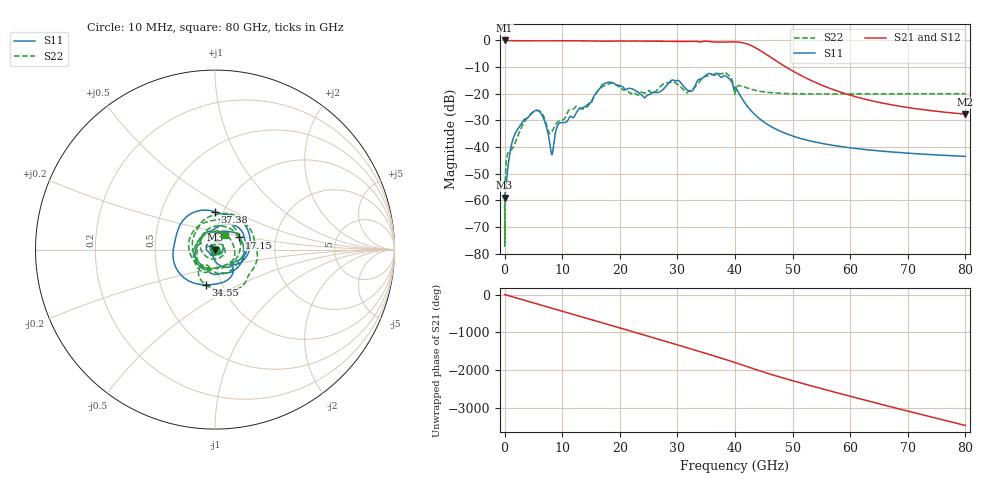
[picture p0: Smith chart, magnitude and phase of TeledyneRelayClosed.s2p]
# Hz S DB R 50
!Touchstone multiport model file <C:\work\PySI\TestSignalIntegrity\OysterSimulation\ResampledSimbeor\TeledyneRelayClosed.s2p>
!Created on 22 Aug 18, at 17:55:42.
!Created with Simbeor THz 2018.01(64bit) of Simberian Inc. built on Jul 20 2018
!Output from MultiportParameters of Simbeor.
!Multiport parameters: DataOrigin=Simulation DataOriginName="Project(1).TeledyneRelayClosed_resampled.LNS"
!RESAMPLED_RCM: Max_RMS_Error=0.0156116; FrqLow=0; FrqHigh=4e+10; MaxTimeResolution=1.25e-11; PassivityState=1; ReciprocityState=1; DataSource="àD«n"
!RATIONAL COMPACTOR: Precision: Normal; Extract Delay: ON; Extrapolate to DC: ON; Extrapolate to Infinity: OFF; Enforce Passivity: ON; Enforce Reciprocity: ON; Band Limit Factor: 1; Auto-Adjust Config: OFF
!Uncomment the following lines with keywords in square brakets to support IBIS forum specification 2.0.
![Version] 2.0 !This line should be the first in file, preceeding the line starting with #.
![Number of Ports] 2
![Number of Frequencies] 8001
![Two-Port Data Order] 21_12
![Reference] 50 50
!!!!Multiport descriptor profile: InputCount=2 TotalPortCount=2
!DescriptorOutline={DescriptorType=SMatrix InputSpace=Terminal NormalizationType=CommonZo NormalizationCommonZo=50 Ohm OutputFormat=DBMagnitudeAngle}
!InputProfile={Name="IO1" IsTLineInput=False InputNumber=1 PortCount=1 FirstPortNumber=1 InputSpace=Terminal BlockType=SBlock NormalizationType=CommonZo Zo=50}
!InputProfile={Name="IO2" IsTLineInput=False InputNumber=2 PortCount=1 FirstPortNumber=2 InputSpace=Terminal BlockType=SBlock NormalizationType=CommonZo Zo=50}
!!!Global port number to input_name/local_port_number correspondence:
!Port 1 -> "IO1"/local_port_1 (terminal)
!Port 2 -> "IO2"/local_port_1 (terminal)
!!!!End of descriptor profile.
!Frequency Hz 20.0*log(|S[1,1]|) arg(S[1,1]) 20.0*log(|S[2,1]|) arg(S[2,1]) 20.0*log(|S[1,2]|) arg(S[1,2]) 20.0*log(|S[2,2]|) arg(S[2,2])
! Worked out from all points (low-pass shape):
!   8000 points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, 10 MHz to 80 GHz, reference 50 ohm
!   highest |S21| = -0.01 dB at 10 MHz (marker M1); lowest = -27.7 dB at 80 GHz (marker M2)
!   |S21| within 3 dB of the highest: start of sweep to 43.78 GHz
!   lowest |S11| = -59.0 dB at 10 MHz (marker M3), VSWR 1.00, Z = 50.1 + j0.00284 ohm
!   |S11| at or under -10 dB: start of sweep to end of sweep
!   |S22| runs from -77.2 to -11.9 dB; largest |S21 - S12| = 2.8e-14
!   S11 on the Smith chart (normalised r, x): 10 MHz: 1.00, +0.00; 17.15 GHz: 1.30, +0.18; 34.55 GHz: 0.84, -0.34; 37.38 GHz: 0.91, +0.40; 80 GHz: 0.99, -0.01
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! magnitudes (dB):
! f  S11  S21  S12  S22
! 10 MHz  -59.0  0.0  0.0  -61.8
! 620 MHz  -46.9  -0.1  -0.1  -42.1
! 1.56 GHz  -36.4  -0.1  -0.1  -39.8
! 3.31 GHz  -29.9  -0.1  -0.1  -31.0
! 6.07 GHz  -26.7  -0.2  -0.2  -26.5
! 7.03 GHz  -30.8  -0.2  -0.2  -29.8
! 8.21 GHz  -42.9  -0.1  -0.1  -34.3
! 9.4 GHz  -31.3  -0.1  -0.1  -30.3
! 13.35 GHz  -25.4  -0.2  -0.2  -25.6
! 17.15 GHz  -16.4  -0.3  -0.3  -17.2
! 23.03 GHz  -19.2  -0.2  -0.2  -20.4
! 26.68 GHz  -19.5  -0.3  -0.3  -18.1
! 29.21 GHz  -14.8  -0.4  -0.4  -15.4
! 31.81 GHz  -18.7  -0.3  -0.3  -19.4
! 34.55 GHz  -13.9  -0.3  -0.3  -13.9
! 37.38 GHz  -13.5  -0.6  -0.6  -12.5
! 38.93 GHz  -14.2  -0.5  -0.5  -13.1
! 40.01 GHz  -17.7  -0.5  -0.5  -19.9
! 45.1 GHz  -30.7  -4.8  -4.8  -19.3
! 53.34 GHz  -37.8  -15.1  -15.1  -20.1
! 66.67 GHz  -41.7  -23.9  -23.9  -20.0
! 80 GHz  -43.5  -27.7  -27.7  -20.0
